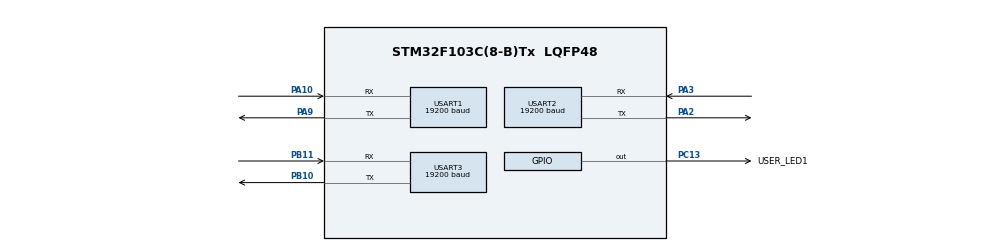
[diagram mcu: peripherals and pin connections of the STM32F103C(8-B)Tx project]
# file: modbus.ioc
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FREERTOS.Tasks01=defaultTask,24,128,StartDefaultTask,Default,NULL,Dynamic,NULL,NULL
FREERTOS.configTOTAL_HEAP_SIZE=9216
FREERTOS.configUSE_NEWLIB_REENTRANT=1
Mcu.Family=STM32F1
Mcu.Name=STM32F103C(8-B)Tx
Mcu.Package=LQFP48
NVIC.PriorityGroup=NVIC_PRIORITYGROUP_4
NVIC.TIM1_UP_IRQn=true\:15\:0\:false\:false\:true\:false\:false\:true\:true
NVIC.TimeBase=TIM1_UP_IRQn
NVIC.TimeBaseIP=TIM1
NVIC.USART1_IRQn=true\:5\:0\:false\:false\:true\:true\:true\:true\:true
NVIC.USART2_IRQn=true\:5\:0\:false\:false\:true\:true\:true\:true\:true
NVIC.USART3_IRQn=true\:5\:0\:false\:false\:true\:true\:true\:true\:true
PA10.Mode=Asynchronous
PA10.Signal=USART1_RX
PA2.Mode=Asynchronous
PA2.Signal=USART2_TX
PA3.Mode=Asynchronous
PA3.Signal=USART2_RX
PA9.Mode=Asynchronous
PA9.Signal=USART1_TX
PB10.Mode=Asynchronous
PB10.Signal=USART3_TX
PB11.Mode=Asynchronous
PB11.Signal=USART3_RX
PC13-TAMPER-RTC.GPIO_Label=USER_LED1
PC13-TAMPER-RTC.Signal=GPIO_Output
ProjectManager.HeapSize=0x200
ProjectManager.StackSize=0x400
ProjectManager.TargetToolchain=STM32CubeIDE
RCC.APB1Freq_Value=8000000
RCC.APB2Freq_Value=8000000
USART1.BaudRate=19200
USART1.VirtualMode=VM_ASYNC
USART2.BaudRate=19200
USART2.VirtualMode=VM_ASYNC
USART3.BaudRate=19200
USART3.VirtualMode=VM_ASYNC
VP_FREERTOS_VS_CMSIS_V2.Mode=CMSIS_V2
VP_SYS_VS_ND.Mode=No_Debug
VP_SYS_VS_tim1.Mode=TIM1
board=custom

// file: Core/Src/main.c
/* USER CODE BEGIN Header */
/**
 ******************************************************************************
 * @file           : main.c
 * @brief          : Main program body
 ******************************************************************************
 * @attention
 *
 * Copyright (c) 2023 STMicroelectronics.
 * All rights reserved.
 *
 * This software is licensed under terms that can be found in the LICENSE file
 * in the root directory of this software component.
 * If no LICENSE file comes with this software, it is provided AS-IS.
 *
 ******************************************************************************
 */
/* USER CODE END Header */
#include "main.h"
#include "cmsis_os.h"

/* USER CODE BEGIN Includes */
#include "eeprom.h"

#include <stdio.h>

#define USART_TIMEOUT 100
#define kEY_BUFFER_MAX 10
/* USER CODE END Includes */

UART_HandleTypeDef huart1;
UART_HandleTypeDef huart2;
UART_HandleTypeDef huart3;

/* Definitions for defaultTask */
osThreadId_t defaultTaskHandle;
const osThreadAttr_t defaultTask_attributes = {
    .name = "defaultTask",
    .stack_size = 128 * 9,
    .priority = (osPriority_t)osPriorityNormal,
};
/* USER CODE BEGIN PV */
/* Virtual address defined by the user: 0xFFFF value is prohibited */
extern uint16_t VirtAddVarTab[];
// uint16_t VarDataTab[NB_OF_VAR] = {0, 0, 0};
// uint16_t VarValue = 0;
/* USER CODE END PV */

void SystemClock_Config(void);
static void MX_GPIO_Init(void);
static void MX_USART1_UART_Init(void);
static void MX_USART2_UART_Init(void);
static void MX_USART3_UART_Init(void);
void StartDefaultTask(void *argument);

int main(void)
{

  /* MCU Configuration--------------------------------------------------------*/

  /* Reset of all peripherals, Initializes the Flash interface and the Systick.
   */
  HAL_Init();

  /* Configure the system clock */
  SystemClock_Config();

  /* USER CODE BEGIN SysInit */
  /* Unlock the Flash Program Erase controller */
  HAL_FLASH_Unlock();
  /* USER CODE END SysInit */

  /* Initialize all configured peripherals */
  MX_GPIO_Init();
  MX_USART1_UART_Init();
  MX_USART2_UART_Init();
  MX_USART3_UART_Init();
  /* USER CODE BEGIN 2 */
  /* EEPROM Init */
  EE_Init();
  // EE_WriteVariable(VirtAddVarTab[0], 300);
  // EE_ReadVariable(VirtAddVarTab[0], &VarDataTab[0]);
  // EE_WriteVariable(VirtAddVarTab[0], VarValue);
#if 0

  /* --- Store successively many values of the three variables in the EEPROM ---*/
  /* Store 0x1000 values of Variable1 in EEPROM */
  for (VarValue = 1; VarValue <= 0x1000; VarValue++)
  {

  EE_WriteVariable(VirtAddVarTab[0], VarValue);

  }

  /* read the last stored variables data*/
  EE_ReadVariable(VirtAddVarTab[0], &VarDataTab[0]);

  /* Store 0x2000 values of Variable2 in EEPROM */
  for (VarValue = 1; VarValue <= 0x2000; VarValue++)
  {
    EE_WriteVariable(VirtAddVarTab[1], VarValue);
  }

  /* read the last stored variables data*/
  EE_ReadVariable(VirtAddVarTab[0], &VarDataTab[0]);
  EE_ReadVariable(VirtAddVarTab[1], &VarDataTab[1]);

  /* Store 0x3000 values of Variable3 in EEPROM */
  for (VarValue = 1; VarValue <= 0x3000; VarValue++)
  {
    EE_WriteVariable(VirtAddVarTab[2], VarValue);
  }

  /* read the last stored variables data*/
  EE_ReadVariable(VirtAddVarTab[0], &VarDataTab[0]);
  EE_ReadVariable(VirtAddVarTab[1], &VarDataTab[1]);
  EE_ReadVariable(VirtAddVarTab[2], &VarDataTab[2]);
#endif
  /* USER CODE END 2 */

  /* Init scheduler */
  osKernelInitialize();

  /* Create the thread(s) */
  /* creation of defaultTask */
  defaultTaskHandle =
      osThreadNew(StartDefaultTask, NULL, &defaultTask_attributes);

  /* Start scheduler */
  osKernelStart();

  /* We should never get here as control is now taken by the scheduler */
  /* Infinite loop */
  while (1)
  {

  }
}

void SystemClock_Config(void)
{
  RCC_OscInitTypeDef RCC_OscInitStruct = {0};
  RCC_ClkInitTypeDef RCC_ClkInitStruct = {0};

  /** Initializes the RCC Oscillators according to the specified parameters
   * in the RCC_OscInitTypeDef structure.
   */
  RCC_OscInitStruct.OscillatorType = RCC_OSCILLATORTYPE_HSI;
  RCC_OscInitStruct.HSIState = RCC_HSI_ON;
  RCC_OscInitStruct.HSICalibrationValue = RCC_HSICALIBRATION_DEFAULT;
  RCC_OscInitStruct.PLL.PLLState = RCC_PLL_NONE;
  if (HAL_RCC_OscConfig(&RCC_OscInitStruct) != HAL_OK)
  {
    Error_Handler();
  }

  /** Initializes the CPU, AHB and APB buses clocks
   */
  RCC_ClkInitStruct.ClockType = RCC_CLOCKTYPE_HCLK | RCC_CLOCKTYPE_SYSCLK |
                                RCC_CLOCKTYPE_PCLK1 | RCC_CLOCKTYPE_PCLK2;
  RCC_ClkInitStruct.SYSCLKSource = RCC_SYSCLKSOURCE_HSI;
  RCC_ClkInitStruct.AHBCLKDivider = RCC_SYSCLK_DIV1;
  RCC_ClkInitStruct.APB1CLKDivider = RCC_HCLK_DIV1;
  RCC_ClkInitStruct.APB2CLKDivider = RCC_HCLK_DIV1;

  if (HAL_RCC_ClockConfig(&RCC_ClkInitStruct, FLASH_LATENCY_0) != HAL_OK)
  {
    Error_Handler();
  }
}

static void MX_USART1_UART_Init(void)
{

  huart1.Instance = USART1;
  huart1.Init.BaudRate = 19200;
  huart1.Init.WordLength = UART_WORDLENGTH_8B;
  huart1.Init.StopBits = UART_STOPBITS_1;
  huart1.Init.Parity = UART_PARITY_NONE;
  huart1.Init.Mode = UART_MODE_TX_RX;
  huart1.Init.HwFlowCtl = UART_HWCONTROL_NONE;
  huart1.Init.OverSampling = UART_OVERSAMPLING_16;
  if (HAL_UART_Init(&huart1) != HAL_OK)
  {
    Error_Handler();
  }
}

static void MX_USART2_UART_Init(void)
{

  huart2.Instance = USART2;
  huart2.Init.BaudRate = 19200;
  huart2.Init.WordLength = UART_WORDLENGTH_8B;
  huart2.Init.StopBits = UART_STOPBITS_1;
  huart2.Init.Parity = UART_PARITY_NONE;
  huart2.Init.Mode = UART_MODE_TX_RX;
  huart2.Init.HwFlowCtl = UART_HWCONTROL_NONE;
  huart2.Init.OverSampling = UART_OVERSAMPLING_16;
  if (HAL_UART_Init(&huart2) != HAL_OK)
  {
    Error_Handler();
  }
}

static void MX_USART3_UART_Init(void)
{

  huart3.Instance = USART3;
  huart3.Init.BaudRate = 19200;
  huart3.Init.WordLength = UART_WORDLENGTH_8B;
  huart3.Init.StopBits = UART_STOPBITS_1;
  huart3.Init.Parity = UART_PARITY_NONE;
  huart3.Init.Mode = UART_MODE_TX_RX;
  huart3.Init.HwFlowCtl = UART_HWCONTROL_NONE;
  huart3.Init.OverSampling = UART_OVERSAMPLING_16;
  if (HAL_UART_Init(&huart3) != HAL_OK)
  {
    Error_Handler();
  }
}

static void MX_GPIO_Init(void)
{
  GPIO_InitTypeDef GPIO_InitStruct = {0};

  /* GPIO Ports Clock Enable */
  __HAL_RCC_GPIOC_CLK_ENABLE();
  __HAL_RCC_GPIOA_CLK_ENABLE();
  __HAL_RCC_GPIOB_CLK_ENABLE();

  /*Configure GPIO pin Output Level */
  HAL_GPIO_WritePin(USER_LED1_GPIO_Port, USER_LED1_Pin, GPIO_PIN_RESET);

  /*Configure GPIO pin : USER_LED1_Pin */
  GPIO_InitStruct.Pin = USER_LED1_Pin;
  GPIO_InitStruct.Mode = GPIO_MODE_OUTPUT_PP;
  GPIO_InitStruct.Pull = GPIO_NOPULL;
  GPIO_InitStruct.Speed = GPIO_SPEED_FREQ_LOW;
  HAL_GPIO_Init(USER_LED1_GPIO_Port, &GPIO_InitStruct);

}

__weak void StartDefaultTask(void *argument)
{
  /* USER CODE BEGIN 5 */
  (void)argument;
  /* Infinite loop */
  for (;;)
  {
    osDelay(10);
  }
  /* USER CODE END 5 */
}

void HAL_TIM_PeriodElapsedCallback(TIM_HandleTypeDef *htim)
{
  if (htim->Instance == TIM1)
  {
    HAL_IncTick();
  }
}

void Error_Handler(void)
{
  __disable_irq();
  while (1)
  {
  }
}

#ifdef USE_FULL_ASSERT
/**
 * @brief  Reports the name of the source file and the source line number
 *         where the assert_param error has occurred.
 * @param  file: pointer to the source file name
 * @param  line: assert_param error line source number
 * @retval None
 */
void assert_failed(uint8_t *file, uint32_t line)
{
  /* USER CODE BEGIN 6 */
  /* User can add his own implementation to report the file name and line
     number, ex: printf("Wrong parameters value: file %s on line %d\r\n", file,
     line) */
  /* USER CODE END 6 */
}
#endif /* USE_FULL_ASSERT */
